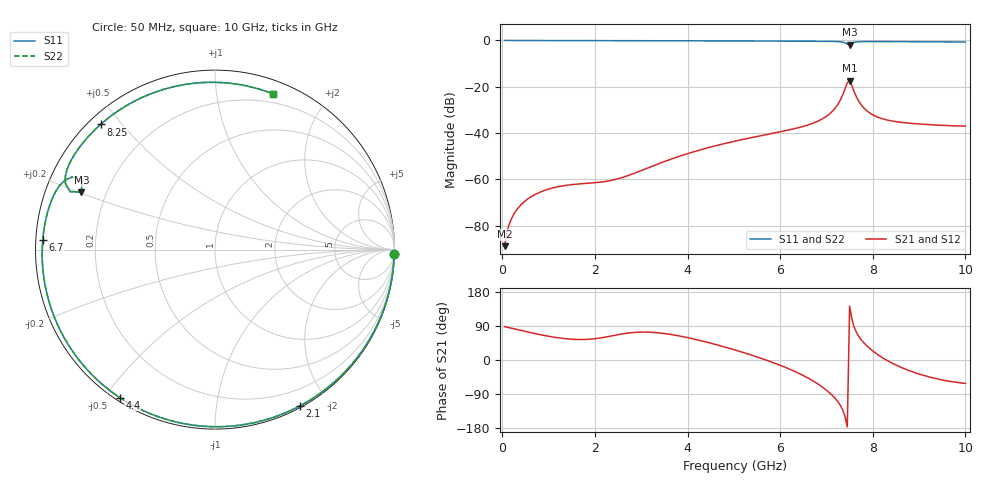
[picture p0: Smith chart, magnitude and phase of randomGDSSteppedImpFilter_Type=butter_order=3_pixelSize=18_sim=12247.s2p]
! freq	dB(S11)	phase(S11)	dB(S12)	phase(S12)
!  dB(S21)	phase(S21)	dB(S22)	phase(S22)
!S-par simulation data
#  GHz  S  DB  R 50
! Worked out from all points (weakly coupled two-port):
!   200 points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, 50 MHz to 10 GHz, reference 50 ohm
!   highest |S21| = -17.44 dB at 7.5 GHz (marker M1); lowest = -88.9 dB at 50 MHz (marker M2)
!   lowest |S11| = -1.8 dB at 7.5 GHz (marker M3), VSWR 9.54, Z = 5.46 + j10.2 ohm
!   |S11| at or under -10 dB: nowhere
!   |S22| runs from -1.8 to 0.0 dB; largest |S21 - S12| = 0
!   S11 on the Smith chart (normalised r, x): 50 MHz: 4, -77; 2.1 GHz: 0.02, -1.68; 4.4 GHz: 0.01, -0.54; 6.7 GHz: 0.02, +0.03; 8.25 GHz: 0.03, +0.44; 10 GHz: 0.12, +1.44
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0.05  -0.01 -1.5  -88.89 88.0  -88.89 88.0  -0.01 -1.5
0.15  -0.01 -4.5  -79.41 85.3  -79.41 85.3  -0.01 -4.5
0.4  -0.02 -12.0  -71.08 78.1  -71.08 78.1  -0.02 -12.0
0.7  -0.03 -21.0  -66.66 69.9  -66.66 69.9  -0.03 -21.0
1.15  -0.04 -34.3  -63.44 59.6  -63.44 59.6  -0.04 -34.3
1.75  -0.07 -51.7  -61.85 54.0  -61.85 54.0  -0.07 -51.7
2.1  -0.08 -61.6  -61.27 57.8  -61.27 57.8  -0.08 -61.6
3.4  -0.12 -96.9  -53.08 71.3  -53.08 71.3  -0.12 -96.9
4.4  -0.17 -122.8  -46.59 47.6  -46.59 47.6  -0.17 -122.8
5.05  -0.21 -139.5  -43.40 25.6  -43.40 25.6  -0.21 -139.5
5.9  -0.27 -161.5  -39.89 -9.2  -39.89 -9.2  -0.27 -161.5
6.7  -0.34 176.7  -35.83 -54.5  -35.83 -54.5  -0.34 176.7
7.15  -0.44 163.0  -30.12 -96.4  -30.12 -96.4  -0.44 163.0
7.3  -0.58 157.5  -25.75 -119.8  -25.75 -119.8  -0.58 157.5
7.4  -0.99 153.0  -20.98 -148.7  -20.98 -148.7  -0.99 153.0
7.5  -1.83 156.7  -17.44 142.4  -17.44 142.4  -1.82 156.7
7.6  -0.81 156.2  -22.23 86.0  -22.23 86.0  -0.81 156.2
7.8  -0.50 147.8  -29.03 46.4  -29.03 46.4  -0.50 147.8
8.25  -0.49 132.4  -34.09 2.9  -34.09 2.9  -0.49 132.4
8.35  -0.50 129.1  -34.56 -4.0  -34.56 -4.0  -0.50 129.0
9.2  -0.59 99.4  -36.36 -44.1  -36.36 -44.1  -0.59 99.4
10  -0.67 69.4  -37.00 -61.7  -37.00 -61.7  -0.67 69.4
